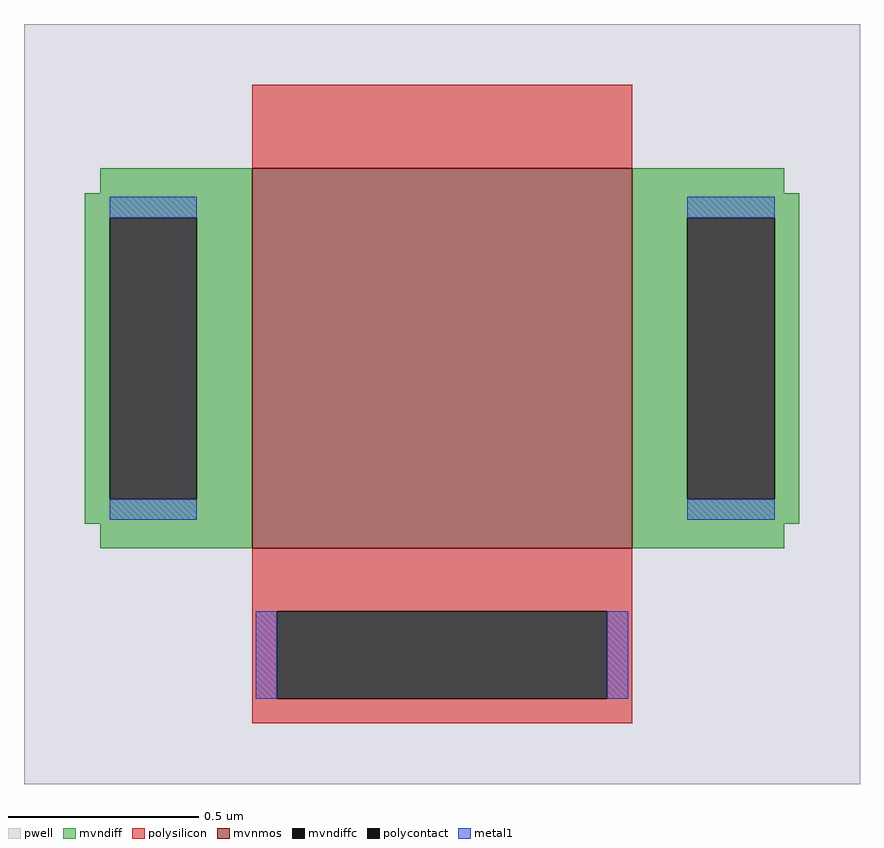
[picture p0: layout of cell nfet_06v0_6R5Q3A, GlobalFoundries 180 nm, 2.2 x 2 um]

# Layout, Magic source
magic
tech gf180mcuD
magscale 1 10
<< pwell >>
rect -220 -200 220 200
<< mvnmos >>
rect -100 -76 100 124
<< mvndiff >>
rect -180 111 -100 124
rect -188 98 -100 111
rect -188 -50 -175 98
rect -129 -50 -100 98
rect -188 -63 -100 -50
rect -180 -76 -100 -63
rect 100 111 180 124
rect 100 98 188 111
rect 100 -50 129 98
rect 175 -50 188 98
rect 100 -63 188 -50
rect 100 -76 180 -63
<< mvndiffc >>
rect -175 -50 -129 98
rect 129 -50 175 98
<< polysilicon >>
rect -100 124 100 168
rect -100 -109 100 -76
rect -100 -155 -87 -109
rect 87 -155 100 -109
rect -100 -168 100 -155
<< polycontact >>
rect -87 -155 87 -109
<< metal1 >>
rect -175 98 -129 109
rect -175 -61 -129 -50
rect 129 98 175 109
rect 129 -61 175 -50
rect -98 -155 -87 -109
rect 87 -155 98 -109
<< properties >>
string gencell nfet_05v0
string library gf180mcu
string parameters w 1.0 l 1.0 m 1 nf 1 diffcov 85 polycov 100 guard 0 glc 0 grc 0 gtc 0 gbc 0 tbcov 100 rlcov 100 topc 0 botc 1 poverlap 0 doverlap 0 lmin 0.7 wmin 0.3 class mosfet full_metal 0 compatible {nfet_03v3 nfet_05v0 nfet_06v0 nfet_06v0_nvt}
<< end >>
